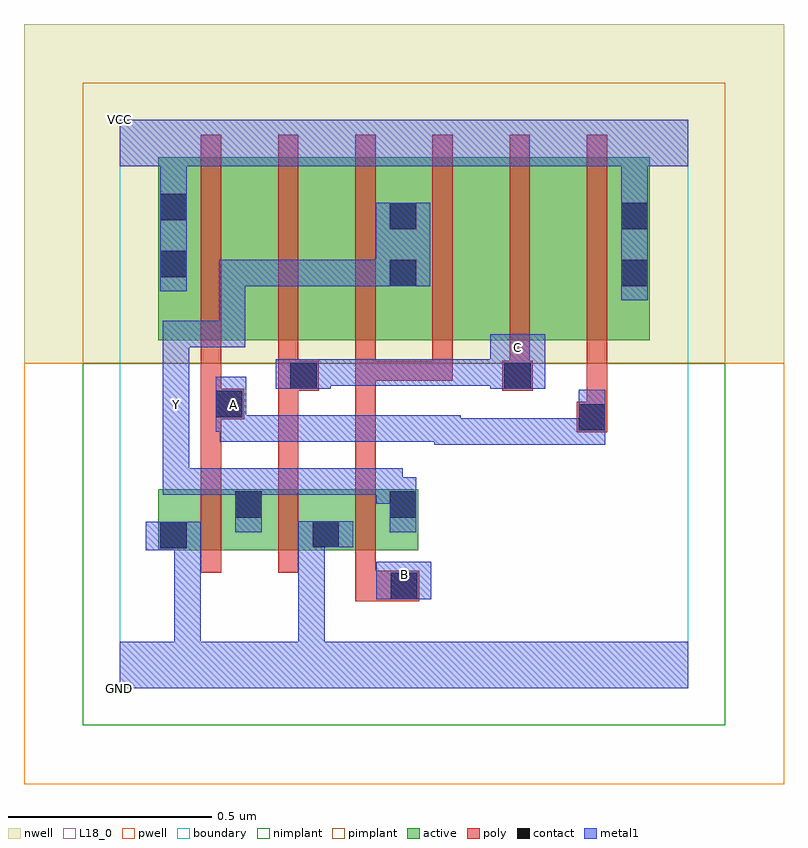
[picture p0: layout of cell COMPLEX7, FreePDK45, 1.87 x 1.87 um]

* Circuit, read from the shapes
.subckt COMPLEX7 A B C GND VCC Y
M1 Y A GND VSUBS nfet w=0.15u l=0.05u
M2 GND C Y VSUBS nfet w=0.15u l=0.05u
M3 Y B GND VSUBS nfet w=0.15u l=0.05u
M4 n1 A VCC n2 pfet w=0.45u l=0.05u
M5 n3 C n1 n2 pfet w=0.45u l=0.05u
M6 Y B n3 n2 pfet w=0.45u l=0.05u
M7 n4 B Y n2 pfet w=0.45u l=0.05u
M8 n5 C n4 n2 pfet w=0.45u l=0.05u
M9 VCC A n5 n2 pfet w=0.45u l=0.05u
.ends

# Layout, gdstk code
import gdstk
lib = gdstk.Library(unit=1e-6, precision=1e-09)
def R(c, l, rs):  # rectangles x0, y0, x1, y1
    for r in rs: c.add(gdstk.rectangle(r[:2], r[2:], *l))
def A(c, l, x, y, w, h, nx, ny, dx, dy):  # array of equal rectangles
    R(c, l, [(x+i*dx, y+j*dy, x+i*dx+w, y+j*dy+h) for i in range(nx) for j in range(ny)])
active = (1, 0)
pwell = (2, 0)
nwell = (3, 0)
nimplant = (4, 0)
pimplant = (5, 0)
poly = (9, 0)
contact = (10, 0)
metal1 = (11, 0)
L18_0 = (18, 0)
boundary = (235, 0)

complex7 = lib.new_cell('COMPLEX7')
R(complex7, active, [(0.095,0.34,0.17,0.49), (0.095,0.34,0.355,0.49), (0.28,0.34,0.355,0.49), (0.28,0.34,0.545,0.49), (0.47,0.34,0.735,0.49), (0.66,0.34,0.735,0.49), (0.47,0.342,0.545,0.417), (0.095,0.857,0.17,1.305), (0.095,0.857,0.32,1.307), (0.32,0.857,0.51,1.307), (0.51,0.857,0.735,1.307), (0.66,0.857,0.89,1.307), (0.66,0.857,0.735,1.2), (0.89,0.857,1.08,1.307), (1.08,0.857,1.305,1.307), (1.23,0.857,1.305,1.305)])
R(complex7, pwell, [(-0.235,-0.235,1.635,0.8)])
R(complex7, nwell, [(-0.235,0.8,1.635,1.635)])
R(complex7, nimplant, [(-0.09,-0.09,1.49,0.8)])
R(complex7, pimplant, [(-0.09,0.8,1.49,1.49)])
A(complex7, poly, 0.2, 0.285, 0.05, 0.26, 3, 1, 0.19, 0)
A(complex7, poly, 0.39, 0.757, 0.05, 0.095, 4, 1, 0.19, 0)
A(complex7, poly, 0.2, 0.802, 0.05, 0.56, 6, 1, 0.19, 0)
R(complex7, poly, [(0.58,0.215,0.737,0.29), (0.58,0.24,0.63,0.335), (0.2,0.495,0.25,0.712), (0.39,0.495,0.44,0.782), (0.58,0.495,0.63,0.807), (1.125,0.63,1.2,0.705), (1.15,0.655,1.2,0.852), (1.15,0.655,1.2,0.705), (1.15,0.655,1.2,0.705), (0.2,0.662,0.307,0.737), (0.2,0.687,0.25,0.737), (0.2,0.687,0.25,0.737), (0.2,0.687,0.25,0.852), (0.39,0.732,0.44,0.782), (0.39,0.732,0.44,0.782), (0.39,0.732,0.49,0.807), (0.942,0.732,1.017,0.807), (0.58,0.757,0.63,0.807), (0.58,0.757,0.63,0.807), (0.58,0.757,0.63,0.807), (0.58,0.757,0.63,0.807), (0.58,0.757,0.63,0.807), (0.58,0.757,0.82,0.807), (0.77,0.757,0.82,0.807)])
R(complex7, contact, [(0.667,0.22,0.732,0.285), (0.1,0.345,0.165,0.41), (0.475,0.347,0.54,0.412), (0.285,0.42,0.35,0.485), (0.665,0.42,0.73,0.485), (1.13,0.635,1.195,0.7), (0.237,0.667,0.302,0.732), (0.42,0.737,0.485,0.802), (0.947,0.737,1.012,0.802), (0.665,0.99,0.73,1.055), (1.235,0.99,1.3,1.055), (0.1,1.012,0.165,1.077), (0.665,1.13,0.73,1.195), (1.235,1.13,1.3,1.195), (0.1,1.152,0.165,1.217)])
R(complex7, metal1, [(0,0,1.4,0.115), (0.135,0.05,0.2,0.115), (0.135,0.05,0.2,0.115), (0.135,0.05,0.2,0.115), (0.135,0.05,0.2,0.115), (0.135,0.05,0.2,0.405), (0.44,0.05,0.505,0.115), (0.44,0.05,0.505,0.115), (0.44,0.05,0.505,0.115), (0.44,0.05,0.505,0.115), (0.44,0.05,0.505,0.115), (0.44,0.05,0.505,0.115), (0.44,0.05,0.505,0.412), (0.632,0.22,0.767,0.312), (0.065,0.34,0.2,0.41), (0.135,0.34,0.2,0.405), (0.135,0.34,0.2,0.405), (0.44,0.347,0.575,0.412), (0.285,0.385,0.35,0.542), (0.665,0.385,0.73,0.52), (0.632,0.455,0.73,0.52), (0.632,0.455,0.697,0.542), (0.107,0.477,0.35,0.542), (0.107,0.477,0.172,0.547), (0.285,0.477,0.557,0.542), (0.492,0.477,0.557,0.542), (0.492,0.477,0.557,0.542), (0.492,0.477,0.557,0.542), (0.492,0.477,0.697,0.542), (0.107,0.482,0.172,0.547), (0.107,0.482,0.172,0.547), (0.107,0.482,0.172,0.697), (0.775,0.6,1.025,0.665), (0.775,0.6,0.84,0.672), (0.96,0.6,1.162,0.665), (0.96,0.6,1.025,0.665), (0.96,0.6,1.025,0.665), (0.96,0.6,1.025,0.665), (1.097,0.6,1.195,0.665), (1.097,0.6,1.162,0.665), (1.13,0.6,1.195,0.735), (0.247,0.607,0.557,0.672), (0.247,0.607,0.312,0.697), (0.492,0.607,0.557,0.672), (0.492,0.607,0.557,0.672), (0.492,0.607,0.557,0.672), (0.492,0.607,0.697,0.672), (0.632,0.607,0.697,0.672), (0.632,0.607,0.84,0.672), (0.775,0.607,0.84,0.672), (0.775,0.607,0.84,0.672), (0.107,0.632,0.172,0.767), (0.237,0.632,0.312,0.767), (0.247,0.632,0.312,0.697), (0.107,0.702,0.172,0.905), (0.385,0.737,0.52,0.81), (0.912,0.737,1.047,0.872), (0.455,0.745,0.52,0.81), (0.455,0.745,0.52,0.81), (0.455,0.745,0.695,0.81), (0.63,0.745,0.695,0.81), (0.63,0.745,0.695,0.81), (0.63,0.745,0.695,0.81), (0.63,0.745,0.835,0.81), (0.77,0.745,0.835,0.81), (0.77,0.745,0.977,0.81), (0.912,0.745,0.977,0.81), (0.912,0.745,0.977,0.81), (0.107,0.84,0.172,0.905), (0.107,0.84,0.172,0.905), (0.107,0.84,0.172,0.905), (0.107,0.84,0.31,0.905), (0.245,0.84,0.31,0.905), (0.245,0.84,0.31,1.055), (1.235,0.955,1.3,1.23), (0.1,0.977,0.165,1.252), (0.245,0.99,0.31,1.055), (0.245,0.99,0.557,1.055), (0.492,0.99,0.557,1.055), (0.492,0.99,0.557,1.055), (0.492,0.99,0.557,1.055), (0.492,0.99,0.695,1.055), (0.63,0.99,0.695,1.055), (0.63,0.99,0.695,1.055), (0.63,0.99,0.765,1.195), (1.235,1.165,1.3,1.35), (0.1,1.187,0.165,1.35), (0,1.285,1.4,1.4)])
R(complex7, L18_0, [(0,0,1.4,0.115), (0.135,0.05,0.2,0.115), (0.135,0.05,0.2,0.115), (0.135,0.05,0.2,0.115), (0.135,0.05,0.2,0.115), (0.135,0.05,0.2,0.405), (0.44,0.05,0.505,0.115), (0.44,0.05,0.505,0.115), (0.44,0.05,0.505,0.115), (0.44,0.05,0.505,0.115), (0.44,0.05,0.505,0.115), (0.44,0.05,0.505,0.115), (0.44,0.05,0.505,0.412), (0.632,0.22,0.767,0.312), (0.667,0.247,0.732,0.312), (0.065,0.34,0.2,0.41), (0.135,0.34,0.2,0.405), (0.135,0.34,0.2,0.405), (0.44,0.347,0.575,0.412), (0.285,0.385,0.35,0.542), (0.665,0.385,0.73,0.52), (0.632,0.455,0.697,0.542), (0.632,0.455,0.73,0.52), (0.107,0.477,0.172,0.547), (0.107,0.477,0.35,0.542), (0.285,0.477,0.557,0.542), (0.492,0.477,0.557,0.542), (0.492,0.477,0.557,0.542), (0.492,0.477,0.557,0.542), (0.492,0.477,0.697,0.542), (0.107,0.482,0.172,0.547), (0.107,0.482,0.172,0.547), (0.107,0.482,0.172,0.697), (0.775,0.6,0.84,0.672), (0.775,0.6,1.025,0.665), (0.96,0.6,1.025,0.665), (0.96,0.6,1.025,0.665), (0.96,0.6,1.025,0.665), (0.96,0.6,1.162,0.665), (1.097,0.6,1.162,0.665), (1.097,0.6,1.195,0.665), (1.13,0.6,1.195,0.735), (0.247,0.607,0.312,0.697), (0.247,0.607,0.557,0.672), (0.492,0.607,0.557,0.672), (0.492,0.607,0.557,0.672), (0.492,0.607,0.557,0.672), (0.492,0.607,0.697,0.672), (0.632,0.607,0.697,0.672), (0.632,0.607,0.84,0.672), (0.775,0.607,0.84,0.672), (0.775,0.607,0.84,0.672), (0.107,0.632,0.172,0.767), (0.237,0.632,0.312,0.767), (0.247,0.632,0.312,0.697), (0.107,0.667,0.172,0.732), (0.247,0.667,0.312,0.732), (0.107,0.702,0.172,0.905), (0.385,0.737,0.52,0.81), (0.912,0.737,1.047,0.872), (0.455,0.745,0.52,0.81), (0.455,0.745,0.52,0.81), (0.455,0.745,0.695,0.81), (0.63,0.745,0.695,0.81), (0.63,0.745,0.695,0.81), (0.63,0.745,0.695,0.81), (0.63,0.745,0.835,0.81), (0.77,0.745,0.835,0.81), (0.77,0.745,0.977,0.81), (0.912,0.745,0.977,0.81), (0.912,0.745,0.977,0.81), (0.947,0.807,1.012,0.872), (0.107,0.84,0.172,0.905), (0.107,0.84,0.172,0.905), (0.107,0.84,0.172,0.905), (0.107,0.84,0.31,0.905), (0.245,0.84,0.31,0.905), (0.245,0.84,0.31,1.055), (1.235,0.955,1.3,1.23), (0.1,0.977,0.165,1.252), (0.245,0.99,0.31,1.055), (0.245,0.99,0.557,1.055), (0.492,0.99,0.557,1.055), (0.492,0.99,0.557,1.055), (0.492,0.99,0.557,1.055), (0.492,0.99,0.695,1.055), (0.63,0.99,0.695,1.055), (0.63,0.99,0.695,1.055), (0.63,0.99,0.765,1.195), (1.235,1.165,1.3,1.35), (0.1,1.187,0.165,1.35), (0,1.285,1.4,1.4)])
R(complex7, boundary, [(0,0,1.4,1.4)])
complex7.add(gdstk.Label('A', (0.28,0.7), layer=11, texttype=0))
complex7.add(gdstk.Label('B', (0.7,0.28), layer=11, texttype=0))
complex7.add(gdstk.Label('C', (0.98,0.84), layer=11, texttype=0))
complex7.add(gdstk.Label('Y', (0.14,0.7), layer=11, texttype=0))
complex7.add(gdstk.Label('VCC', (0,1.4), layer=11, texttype=0))
complex7.add(gdstk.Label('GND', (0,0), layer=11, texttype=0))

lib.write_gds('COMPLEX7.gds')
